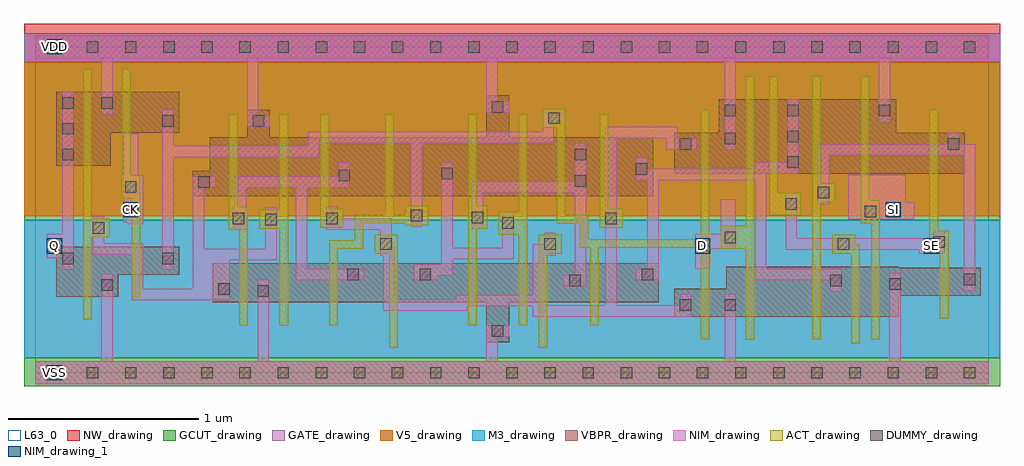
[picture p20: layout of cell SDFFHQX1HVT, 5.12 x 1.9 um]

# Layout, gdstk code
import gdstk
lib = gdstk.Library(unit=1e-6, precision=5e-10)
def R(c, l, rs):  # rectangles x0, y0, x1, y1
    for r in rs: c.add(gdstk.rectangle(r[:2], r[2:], *l))
def A(c, l, x, y, w, h, nx, ny, dx, dy):  # array of equal rectangles
    R(c, l, [(x+i*dx, y+j*dy, x+i*dx+w, y+j*dy+h) for i in range(nx) for j in range(ny)])
def P(c, l, *ps):  # polygons
    for p in ps: c.add(gdstk.Polygon(p, *l))
VBPR_drawing = (1, 0)
NW_drawing = (2, 0)
ACT_drawing = (3, 0)
GATE_drawing = (4, 0)
GCUT_drawing = (5, 0)
DUMMY_drawing = (6, 0)
NIM_drawing = (7, 0)
NIM_drawing_1 = (7, 1)
M3_drawing = (18, 0)
V5_drawing = (23, 0)
L63_0 = (63, 0)

sdffhqx1hvt = lib.new_cell('SDFFHQX1HVT')
R(sdffhqx1hvt, VBPR_drawing, [(0,-0.06,5,0.06), (0,1.65,5,1.77)])
P(sdffhqx1hvt, VBPR_drawing, [(0.11,1.475),(0.755,1.475),(0.755,1.26),(0.395,1.26),(0.395,1.085),(0.11,1.085)],
  [(1.11,1.38),(1.23,1.38),(1.23,1.235),(2.365,1.235),(2.365,1.455),(2.485,1.455),(2.485,1.235),(3.24,1.235),(3.24,0.925),(0.825,0.925),(0.825,1.06),(0.915,1.06),(0.915,1.235),(1.11,1.235)],
  [(3.585,1.435),(4.515,1.435),(4.515,1.26),(4.875,1.26),(4.875,1.045),(3.35,1.045),(3.35,1.26),(3.585,1.26)],
  [(0.11,0.66),(0.755,0.66),(0.755,0.515),(0.435,0.515),(0.435,0.4),(0.11,0.4)],
  [(3.625,0.555),(4.53,0.555),(4.53,0.55),(4.96,0.55),(4.96,0.405),(4.53,0.405),(4.53,0.295),(3.35,0.295),(3.35,0.44),(3.625,0.44)],
  [(0.93,0.575),(3.27,0.575),(3.27,0.37),(2.485,0.37),(2.485,0.16),(2.365,0.16),(2.365,0.37),(0.93,0.37)])
R(sdffhqx1hvt, NW_drawing, [(-0.06,0.82,5.06,1.83)])
P(sdffhqx1hvt, ACT_drawing, [(0.25,1.595),(0.295,1.595),(0.295,0.81),(0.39,0.81),(0.39,0.71),(0.295,0.71),(0.295,0.28),(0.25,0.28)],
  [(0.455,1.595),(0.5,1.595),(0.5,1.035),(0.55,1.035),(0.55,0.395),(0.505,0.395),(0.505,0.915),(0.45,0.915),(0.45,1.035),(0.455,1.035)],
  [(2.66,1.385),(2.78,1.385),(2.78,0.83),(2.9,0.83),(2.9,0.7),(3.49,0.7),(3.49,1.38),(3.535,1.38),(3.535,0.175),(3.49,0.175),(3.49,0.655),(2.955,0.655),(2.955,0.25),(2.91,0.25),(2.91,0.655),(2.855,0.655),(2.855,0.785),(2.735,0.785),(2.735,1.285),(2.66,1.285)],
  [(1.015,1.355),(1.06,1.355),(1.06,0.87),(1.115,0.87),(1.115,0.25),(1.07,0.25),(1.07,0.75),(1.015,0.75)],
  [(1.28,1.355),(1.325,1.355),(1.325,0.25),(1.28,0.25),(1.28,0.755),(1.175,0.755),(1.175,0.855),(1.28,0.855)],
  [(1.495,1.355),(1.54,1.355),(1.54,0.86),(1.615,0.86),(1.615,0.76),(1.495,0.76)],
  [(1.835,1.355),(1.88,1.355),(1.88,0.83),(1.94,0.83),(1.94,0.875),(2.06,0.875),(2.06,0.775),(1.94,0.775),(1.94,0.785),(1.72,0.785),(1.72,0.65),(1.585,0.65),(1.585,0.25),(1.54,0.25),(1.54,0.695),(1.675,0.695),(1.675,0.83),(1.835,0.83)],
  [(2.27,1.355),(2.315,1.355),(2.315,0.875),(2.37,0.875),(2.37,0.755),(2.315,0.755),(2.315,0.25),(2.27,0.25)],
  [(2.535,1.355),(2.58,1.355),(2.58,0.25),(2.535,0.25),(2.535,0.725),(2.43,0.725),(2.43,0.845),(2.535,0.845)],
  [(3.725,1.555),(3.77,1.555),(3.77,0.175),(3.725,0.175),(3.725,0.65),(3.595,0.65),(3.595,0.77),(3.725,0.77)],
  [(3.85,1.555),(3.895,1.555),(3.895,0.945),(4.015,0.945),(4.015,0.825),(3.85,0.825)],
  [(4.075,1.555),(4.12,1.555),(4.12,0.995),(4.195,0.995),(4.195,0.895),(4.12,0.895),(4.12,0.175),(4.075,0.175)],
  [(4.33,1.555),(4.375,1.555),(4.375,0.905),(4.43,0.905),(4.43,0.175),(4.385,0.175),(4.385,0.785),(4.33,0.785)],
  [(2.96,1.355),(3.005,1.355),(3.005,0.86),(3.08,0.86),(3.08,0.76),(2.96,0.76)],
  [(4.69,1.38),(4.735,1.38),(4.735,0.745),(4.79,0.745),(4.79,0.285),(4.745,0.285),(4.745,0.625),(4.69,0.625)],
  [(1.78,0.725),(1.9,0.725),(1.9,0.13),(1.855,0.13),(1.855,0.625),(1.78,0.625)],
  [(2.64,0.725),(2.76,0.725),(2.76,0.625),(2.685,0.625),(2.685,0.13),(2.64,0.13)],
  [(4.18,0.725),(4.3,0.725),(4.3,0.675),(4.325,0.675),(4.325,0.155),(4.28,0.155),(4.28,0.625),(4.18,0.625)])
R(sdffhqx1hvt, GATE_drawing, [(-0.06,0.08,5.06,0.8), (-0.06,1.63,5.06,1.78)])
R(sdffhqx1hvt, GCUT_drawing, [(-0.06,-0.07,5.06,0.08), (-0.06,0.8,5.06,1.63)])
A(sdffhqx1hvt, DUMMY_drawing, 0.07, -0.03, 0.06, 0.06, 25, 2, 0.2, 1.71)
A(sdffhqx1hvt, DUMMY_drawing, 3.945, 1.075, 0.06, 0.06, 1, 3, 0, 0.135)
A(sdffhqx1hvt, DUMMY_drawing, 0.14, 1.115, 0.06, 0.06, 1, 3, 0, 0.135)
R(sdffhqx1hvt, DUMMY_drawing, [(2.395,0.19,2.455,0.25), (3.38,0.325,3.44,0.385), (3.615,0.325,3.675,0.385), (1.165,0.4,1.225,0.46), (0.96,0.41,1.02,0.47), (0.345,0.43,0.405,0.49), (4.48,0.435,4.54,0.495), (2.8,0.455,2.86,0.515), (4.17,0.455,4.23,0.515), (4.87,0.46,4.93,0.52), (1.635,0.485,1.695,0.545), (2.015,0.485,2.075,0.545), (3.18,0.485,3.24,0.545), (0.14,0.57,0.2,0.63), (0.665,0.57,0.725,0.63), (1.81,0.645,1.87,0.705), (2.67,0.645,2.73,0.705), (4.21,0.645,4.27,0.705), (4.71,0.655,4.77,0.715), (3.615,0.68,3.675,0.74), (0.3,0.73,0.36,0.79), (2.45,0.755,2.51,0.815), (1.205,0.775,1.265,0.835), (1.035,0.78,1.095,0.84), (1.525,0.78,1.585,0.84), (2.99,0.78,3.05,0.84), (2.29,0.785,2.35,0.845), (1.97,0.795,2.03,0.855), (4.35,0.815,4.41,0.875), (3.935,0.855,3.995,0.915), (4.105,0.915,4.165,0.975), (0.47,0.945,0.53,1.005), (0.855,0.97,0.915,1.03), (2.83,0.975,2.89,1.035), (1.59,1.005,1.65,1.065), (2.13,1.015,2.19,1.075), (3.15,1.04,3.21,1.1), (2.83,1.115,2.89,1.175), (3.38,1.17,3.44,1.23), (4.785,1.17,4.845,1.23), (3.615,1.2,3.675,1.26), (0.665,1.29,0.725,1.35), (1.14,1.29,1.2,1.35), (2.69,1.305,2.75,1.365), (3.615,1.345,3.675,1.405), (4.425,1.345,4.485,1.405), (2.395,1.365,2.455,1.425), (0.345,1.385,0.405,1.445)])
R(sdffhqx1hvt, NIM_drawing, [(0.345,0.06,0.405,0.52), (1.165,0.06,1.225,0.49), (3.615,0.06,3.675,0.415), (4.48,0.06,4.54,0.525), (3.615,1.17,3.675,1.65), (4.425,1.315,4.485,1.65), (0.345,1.355,0.405,1.65)])
P(sdffhqx1hvt, NIM_drawing, [(1.23,1.35),(1.17,1.35),(1.17,1.65),(1.11,1.65),(1.11,1.29),(1.23,1.29)],
  [(2.485,1.425),(2.425,1.425),(2.425,1.65),(2.365,1.65),(2.365,1.365),(2.485,1.365)],
  [(2.485,0.25),(2.365,0.25),(2.365,0.06),(2.425,0.06),(2.425,0.19),(2.485,0.19)],
  [(0.14,1.475),(0.2,1.475),(0.2,0.54),(0.14,0.54),(0.14,0.6),(0.06,0.6),(0.06,0.73),(0.14,0.73)],
  [(0.665,1.38),(0.725,1.38),(0.725,1.19),(1.43,1.19),(1.43,1.265),(2.66,1.265),(2.66,1.365),(2.78,1.365),(2.78,1.305),(2.72,1.305),(2.72,1.205),(2.03,1.205),(2.03,0.765),(1.97,0.765),(1.97,1.205),(1.49,1.205),(1.49,1.13),(0.725,1.13),(0.725,0.54),(0.665,0.54)],
  [(1.59,1.105),(1.65,1.105),(1.65,0.97),(1.425,0.97),(1.425,0.545),(1.725,0.545),(1.725,0.485),(1.365,0.485),(1.365,0.97),(1.105,0.97),(1.105,0.75),(1.035,0.75),(1.035,0.87),(1.045,0.87),(1.045,1.03),(1.59,1.03)],
  [(0.46,1.255),(0.54,1.255),(0.54,1.035),(0.565,1.035),(0.565,0.78),(0.485,0.78),(0.485,0.79),(0.46,0.79)],
  [(0.825,1.03),(0.945,1.03),(0.945,0.97),(0.885,0.97),(0.885,0.65),(1.205,0.65),(1.205,0.865),(1.265,0.865),(1.265,0.59),(1.02,0.59),(1.02,0.38),(0.505,0.38),(0.505,0.62),(0.3,0.62),(0.3,0.82),(0.36,0.82),(0.36,0.68),(0.565,0.68),(0.565,0.44),(0.825,0.44)],
  [(2.99,1.29),(3.37,1.29),(3.37,1.23),(3.47,1.23),(3.47,1.17),(3.31,1.17),(3.31,1.23),(3.05,1.23),(3.05,0.355),(3.38,0.355),(3.38,0.415),(3.44,0.415),(3.44,0.295),(2.61,0.295),(2.61,0.35),(2.265,0.35),(2.265,0.325),(1.825,0.325),(1.825,0.615),(1.81,0.615),(1.81,0.75),(1.525,0.75),(1.525,0.87),(1.585,0.87),(1.585,0.81),(1.87,0.81),(1.87,0.66),(1.885,0.66),(1.885,0.385),(2.205,0.385),(2.205,0.41),(2.61,0.41),(2.61,0.675),(2.67,0.675),(2.67,0.735),(2.73,0.735),(2.73,0.615),(2.67,0.615),(2.67,0.355),(2.99,0.355)],
  [(2.83,1.205),(2.89,1.205),(2.89,0.455),(2.77,0.455),(2.77,0.515),(2.83,0.515),(2.83,0.945),(2.35,0.945),(2.35,0.755),(2.29,0.755),(2.29,1.005),(2.83,1.005)],
  [(2.13,1.105),(2.19,1.105),(2.19,0.655),(2.45,0.655),(2.45,0.845),(2.51,0.845),(2.51,0.595),(2.19,0.595),(2.19,0.51),(2.105,0.51),(2.105,0.485),(1.985,0.485),(1.985,0.57),(2.13,0.57)],
  [(3.15,1.13),(3.21,1.13),(3.21,1.07),(3.775,1.07),(3.775,1.105),(3.945,1.105),(3.945,1.435),(4.005,1.435),(4.005,1.045),(3.835,1.045),(3.835,0.545),(4.23,0.545),(4.23,0.425),(4.17,0.425),(4.17,0.485),(3.775,0.485),(3.775,1.01),(3.27,1.01),(3.27,0.485),(3.15,0.485),(3.15,0.545),(3.21,0.545),(3.21,1.01),(3.15,1.01)],
  [(4.785,1.26),(4.845,1.26),(4.845,1.2),(4.93,1.2),(4.93,0.43),(4.87,0.43),(4.87,1.14),(4.165,1.14),(4.165,0.885),(4.105,0.885),(4.105,1.2),(4.785,1.2)],
  [(3.595,0.91),(3.675,0.91),(3.675,0.65),(3.54,0.65),(3.54,0.545),(3.46,0.545),(3.46,0.73),(3.595,0.73)],
  [(3.935,0.945),(3.995,0.945),(3.995,0.705),(4.71,0.705),(4.71,0.745),(4.77,0.745),(4.77,0.625),(4.635,0.625),(4.635,0.645),(3.935,0.645)],
  [(4.265,1.04),(4.565,1.04),(4.565,0.895),(4.61,0.895),(4.61,0.805),(4.265,0.805)])
R(sdffhqx1hvt, NIM_drawing_1, [(0.06,-0.04,0.14,0.04), (0.06,0.625,0.14,0.705), (3.46,0.625,3.54,0.705), (4.66,0.625,4.74,0.705), (0.46,0.815,0.54,0.895), (4.46,0.815,4.54,0.895), (0.06,1.67,0.14,1.75)])
R(sdffhqx1hvt, M3_drawing, [(-0.06,0.08,5.06,0.8)])
R(sdffhqx1hvt, V5_drawing, [(-0.06,0.82,5.06,1.63)])
R(sdffhqx1hvt, L63_0, [(0,0,5,1.71)])
sdffhqx1hvt.add(gdstk.FlexPath([(0,0),(5,0)], 0.12, ends="flush", simple_path=True, layer=7, datatype=0))  # NIM_drawing
sdffhqx1hvt.add(gdstk.FlexPath([(0,1.71),(5,1.71)], 0.12, ends="flush", simple_path=True, layer=7, datatype=0))  # NIM_drawing
sdffhqx1hvt.add(gdstk.Label('Q', (0.1,0.665), layer=7, texttype=1))
sdffhqx1hvt.add(gdstk.Label('SE', (4.7,0.665), layer=7, texttype=1))
sdffhqx1hvt.add(gdstk.Label('SI', (4.5,0.855), layer=7, texttype=1))
sdffhqx1hvt.add(gdstk.Label('D', (3.5,0.665), layer=7, texttype=1))
sdffhqx1hvt.add(gdstk.Label('CK', (0.5,0.855), layer=7, texttype=1))
sdffhqx1hvt.add(gdstk.Label('VDD', (0.1,1.71), layer=7, texttype=1))
sdffhqx1hvt.add(gdstk.Label('VSS', (0.1,0), layer=7, texttype=1))
sdffhqx1hvt.add(gdstk.Label('VSS', (0.1,0), layer=7, texttype=1))
sdffhqx1hvt.add(gdstk.Label('VDD', (0.1,1.71), layer=7, texttype=1))
sdffhqx1hvt.add(gdstk.Label('CK', (0.5,0.855), layer=7, texttype=1))
sdffhqx1hvt.add(gdstk.Label('D', (3.5,0.665), layer=7, texttype=1))
sdffhqx1hvt.add(gdstk.Label('SI', (4.5,0.855), layer=7, texttype=1))
sdffhqx1hvt.add(gdstk.Label('SE', (4.7,0.665), layer=7, texttype=1))
sdffhqx1hvt.add(gdstk.Label('Q', (0.1,0.665), layer=7, texttype=1))
sdffhqx1hvt.add(gdstk.Label('SDFFHQX1', (0,0), layer=63, texttype=0))

lib.write_gds('SDFFHQX1HVT.gds')
